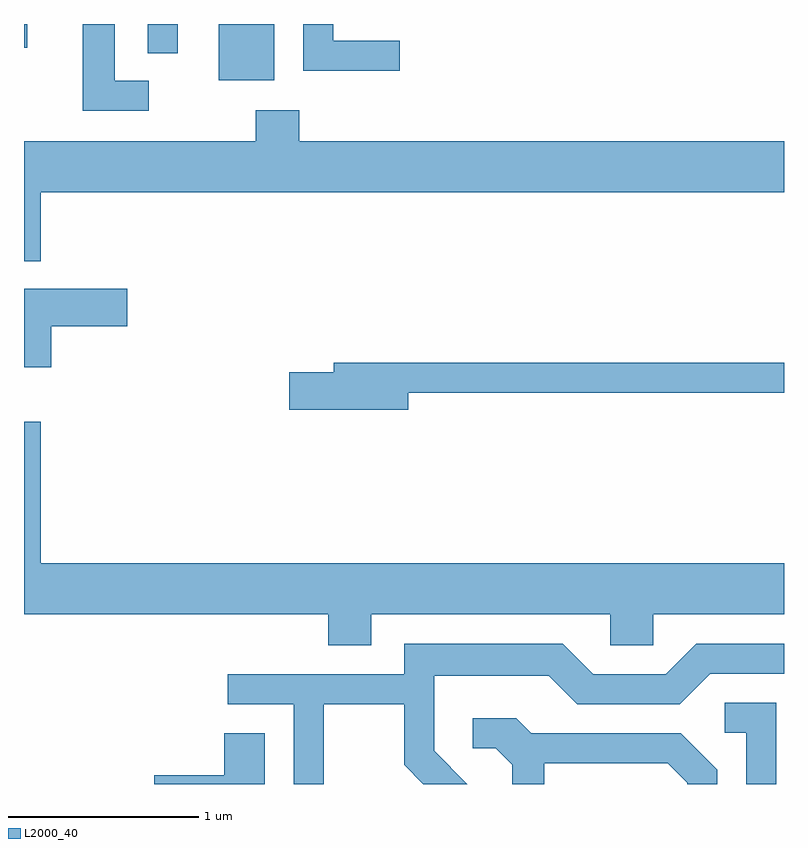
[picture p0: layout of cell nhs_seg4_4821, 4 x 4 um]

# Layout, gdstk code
import gdstk
lib = gdstk.Library(unit=1e-6, precision=1e-09)
def R(c, l, rs):  # rectangles x0, y0, x1, y1
    for r in rs: c.add(gdstk.rectangle(r[:2], r[2:], *l))
def P(c, l, *ps):  # polygons
    for p in ps: c.add(gdstk.Polygon(p, *l))
L2000_40 = (2000, 40)

nhs_seg4_4821 = lib.new_cell('nhs_seg4_4821')
R(nhs_seg4_4821, L2000_40, [(326.636,1379.686,326.929,1379.982), (326.261,1379.828,326.419,1379.982), (325.611,1379.856,325.629,1379.982)])
P(nhs_seg4_4821, L2000_40, [(327.588,1379.894),(327.239,1379.894),(327.239,1379.982),(327.081,1379.982),(327.081,1379.736),(327.588,1379.736)],
  [(326.268,1379.684),(326.089,1379.684),(326.089,1379.982),(325.921,1379.982),(325.921,1379.526),(326.268,1379.526)],
  [(325.699,1379.096),(329.611,1379.096),(329.611,1379.364),(327.059,1379.364),(327.059,1379.529),(326.831,1379.529),(326.831,1379.364),(325.611,1379.364),(325.611,1378.733),(325.699,1378.733)],
  [(325.754,1378.391),(326.154,1378.391),(326.154,1378.589),(325.611,1378.589),(325.611,1378.176),(325.754,1378.176)],
  [(327.634,1378.041),(329.611,1378.041),(329.611,1378.199),(327.241,1378.199),(327.241,1378.149),(327.006,1378.149),(327.006,1377.951),(327.634,1377.951)],
  [(327.439,1376.876),(328.696,1376.876),(328.696,1376.711),(328.924,1376.711),(328.924,1376.876),(329.611,1376.876),(329.611,1377.144),(325.699,1377.144),(325.699,1377.888),(325.611,1377.888),(325.611,1376.876),(327.211,1376.876),(327.211,1376.711),(327.439,1376.711)],
  [(327.189,1376.401),(327.611,1376.401),(327.611,1376.084),(327.713,1375.982),(327.944,1375.982),(327.769,1376.157),(327.769,1376.551),(328.374,1376.551),(328.524,1376.401),(329.062,1376.401),(329.222,1376.561),(329.611,1376.561),(329.611,1376.719),(329.149,1376.719),(328.989,1376.559),(328.607,1376.559),(328.447,1376.719),(327.611,1376.719),(327.611,1376.559),(326.683,1376.559),(326.683,1376.401),(327.031,1376.401),(327.031,1375.982),(327.189,1375.982)],
  [(329.569,1376.409),(329.298,1376.409),(329.298,1376.251),(329.411,1376.251),(329.411,1375.982),(329.569,1375.982)],
  [(328.349,1376.091),(328.999,1376.091),(329.101,1375.989),(329.101,1375.982),(329.259,1375.982),(329.259,1376.057),(329.067,1376.249),(328.282,1376.249),(328.202,1376.329),(327.973,1376.329),(327.973,1376.171),(328.094,1376.171),(328.181,1376.084),(328.181,1375.982),(328.349,1375.982)],
  [(326.879,1376.249),(326.666,1376.249),(326.666,1376.029),(326.296,1376.029),(326.296,1375.982),(326.879,1375.982)])

lib.write_gds('nhs_seg4_4821.gds')
